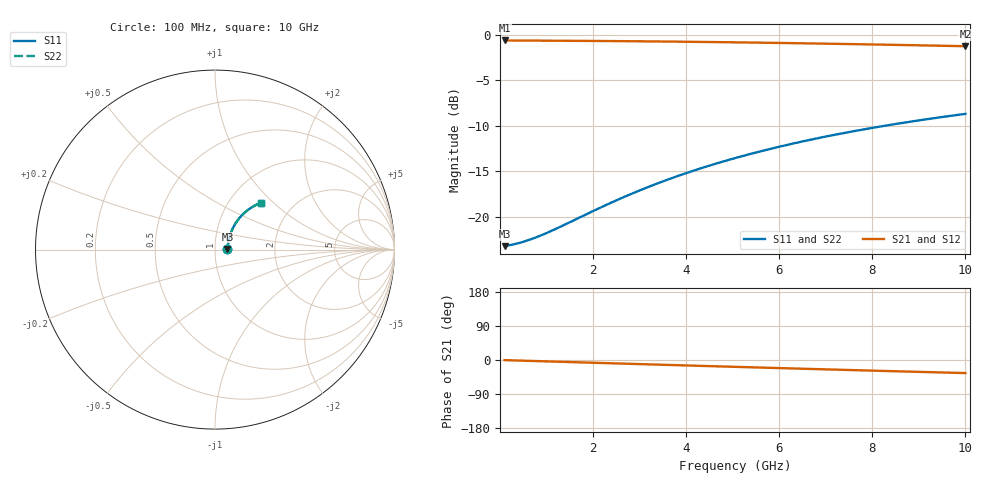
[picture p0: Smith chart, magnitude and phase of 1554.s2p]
# Hz S RI R 50.00
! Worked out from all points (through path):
!   100 points, 100 MHz to 10 GHz, reference 50 ohm
!   highest |S21| = -0.62 dB at 100 MHz (marker M1); lowest = -1.3 dB at 10 GHz (marker M2)
!   group delay of S21, straight-line fit = 9.61 ps
!   lowest |S11| = -23.2 dB at 100 MHz (marker M3), VSWR 1.15, Z = 57.4 + j0.418 ohm
!   |S11| at or under -10 dB: start of sweep to 8.254 GHz
!   |S22| runs from -23.2 to -8.7 dB; largest |S21 - S12| = 0
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1e8  0.0691 0.00362  0.9309 -0.0059  0.9309 -0.0059  0.0691 0.00362
4e8  0.0704 0.0144  0.9296 -0.0235  0.9296 -0.0235  0.0704 0.0144
6e8  0.0712 0.0216  0.9286 -0.0353  0.9286 -0.0353  0.0712 0.0216
8e8  0.0722 0.0288  0.9276 -0.047  0.9276 -0.047  0.0722 0.0288
1e9  0.0733 0.0359  0.9264 -0.0587  0.9264 -0.0587  0.0733 0.0359
1.2e9  0.0745 0.043  0.9251 -0.0703  0.9251 -0.0703  0.0745 0.043
1.8e9  0.0792 0.064  0.9199 -0.105  0.9199 -0.105  0.0792 0.064
2.2e9  0.0831 0.0778  0.9156 -0.1278  0.9156 -0.1278  0.0831 0.0778
2.6e9  0.0877 0.0913  0.9105 -0.1504  0.9105 -0.1504  0.0877 0.0913
3e9  0.0929 0.1045  0.9047 -0.1728  0.9047 -0.1728  0.0929 0.1045
3.4e9  0.0987 0.1174  0.8982 -0.1948  0.8982 -0.1948  0.0987 0.1174
3.8e9  0.1051 0.1299  0.891 -0.2164  0.891 -0.2164  0.1051 0.1299
4.2e9  0.1121 0.1421  0.8831 -0.2377  0.8831 -0.2377  0.1121 0.1421
4.6e9  0.1196 0.1538  0.8747 -0.2586  0.8747 -0.2586  0.1196 0.1538
5.1e9  0.1298 0.1678  0.8632 -0.284  0.8632 -0.284  0.1298 0.1678
5.5e9  0.1384 0.1785  0.8534 -0.3039  0.8534 -0.3039  0.1384 0.1785
5.9e9  0.1475 0.1887  0.843 -0.3232  0.843 -0.3232  0.1475 0.1887
6.7e9  0.167 0.2075  0.8208 -0.3604  0.8208 -0.3604  0.167 0.2075
7.5e9  0.1878 0.2241  0.7968 -0.3954  0.7968 -0.3954  0.1878 0.2241
8.4e9  0.2126 0.2401  0.7681 -0.4321  0.7681 -0.4321  0.2126 0.2401
9.2e9  0.2356 0.2519  0.7412 -0.4624  0.7412 -0.4624  0.2356 0.2519
1e10  0.2591 0.2614  0.7134 -0.4904  0.7134 -0.4904  0.2591 0.2614
